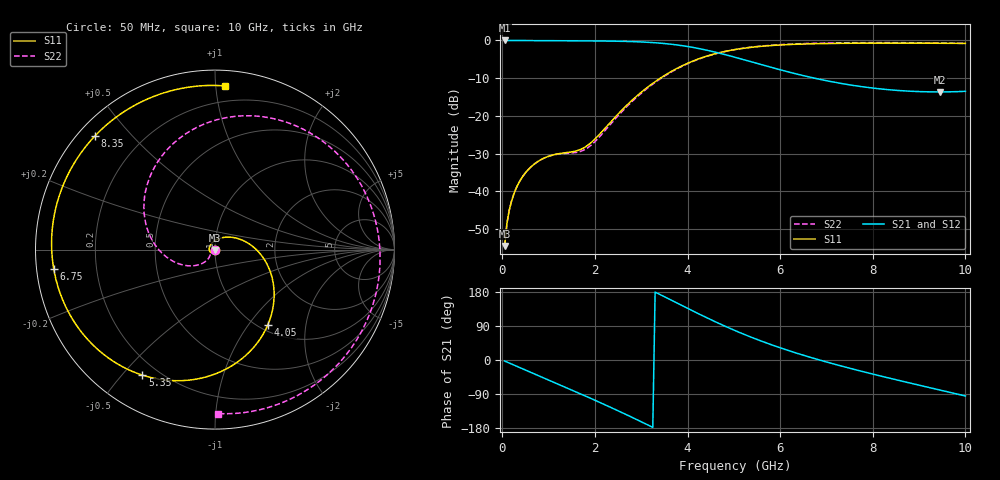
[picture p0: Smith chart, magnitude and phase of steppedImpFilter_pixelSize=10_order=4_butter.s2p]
! freq	dB(S11)	phase(S11)	dB(S12)	phase(S12)
!  dB(S21)	phase(S21)	dB(S22)	phase(S22)
!S-par simulation data
#  GHz  S  DB  R 50
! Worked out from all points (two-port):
!   200 points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, 50 MHz to 10 GHz, reference 50 ohm
!   highest |S21| = 0.00 dB at 50 MHz (marker M1); lowest = -13.7 dB at 9.45 GHz (marker M2)
!   |S21| within 3 dB of the highest: start of sweep to 4.564 GHz
!   lowest |S11| = -54.5 dB at 50 MHz (marker M3), VSWR 1.00, Z = 50 - j0.188 ohm
!   |S11| at or under -10 dB: start of sweep to 3.412 GHz
!   |S22| runs from -54.5 to -0.6 dB; largest |S21 - S12| = 0
!   S11 on the Smith chart (normalised r, x): 50 MHz: 1.00, -0.00; 4.05 GHz: 1.09, -1.25; 5.35 GHz: 0.14, -0.57; 6.75 GHz: 0.05, -0.06; 8.35 GHz: 0.05, +0.40; 10 GHz: 0.10, +1.06
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0.05  -54.50 -90.0  -0.00 -2.6  -0.00 -2.6  -54.54 -89.9
0.1  -48.51 -94.1  -0.00 -5.3  -0.00 -5.3  -48.55 -94.1
0.2  -42.56 -100.3  -0.01 -10.6  -0.01 -10.6  -42.59 -100.2
0.5  -35.09 -118.0  -0.04 -26.3  -0.04 -26.3  -35.09 -116.4
0.8  -31.85 -137.0  -0.05 -42.0  -0.05 -42.0  -31.86 -131.0
1.15  -30.19 -163.3  -0.07 -60.5  -0.07 -60.5  -30.24 -143.5
1.75  -28.53 126.9  -0.11 -92.5  -0.11 -92.5  -29.12 -138.6
2.2  -23.53 68.7  -0.15 -117.1  -0.15 -117.1  -24.16 -126.6
2.7  -17.04 26.1  -0.26 -145.4  -0.26 -145.4  -17.40 -139.6
3.05  -13.24 3.0  -0.42 -165.9  -0.42 -165.9  -13.50 -157.4
3.4  -10.10 -18.0  -0.70 173.1  -0.70 173.1  -10.29 -178.3
4.05  -5.80 -55.1  -1.71 133.4  -1.71 133.4  -5.89 139.6
4.5  -3.85 -79.3  -2.82 106.6  -2.82 106.6  -3.89 110.6
5.05  -2.36 -106.5  -4.54 76.4  -4.54 76.4  -2.35 77.8
5.35  -1.85 -120.0  -5.56 61.4  -5.56 61.4  -1.82 61.6
6  -1.20 -146.4  -7.77 32.3  -7.77 32.3  -1.11 30.4
6.7  -0.88 -171.4  -9.89 5.3  -9.89 5.3  -0.76 2.3
6.75  -0.87 -173.1  -10.03 3.5  -10.03 3.5  -0.74 0.5
7.5  -0.75 162.7  -11.78 -21.7  -11.78 -21.7  -0.60 -24.6
8.35  -0.71 136.7  -13.07 -47.6  -13.07 -47.6  -0.57 -49.0
9.45  -0.75 103.4  -13.65 -79.3  -13.65 -79.3  -0.68 -76.4
10  -0.79 86.6  -13.49 -95.0  -13.49 -95.0  -0.79 -89.1
